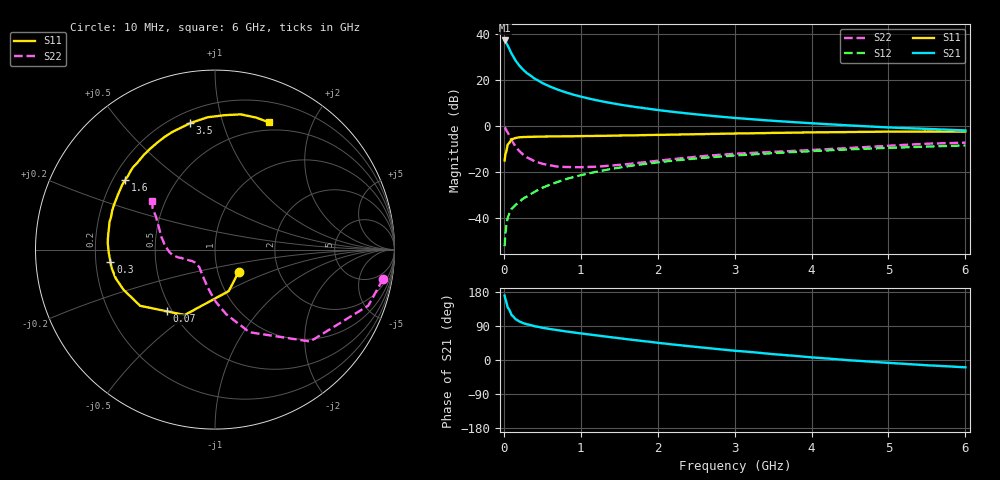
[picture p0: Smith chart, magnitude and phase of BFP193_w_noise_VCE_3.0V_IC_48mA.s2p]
! Infineon Technologies  Discrete & RF Semiconductors
! BFP193
! VCE =  3.0 V,  IC =  48 mA
! Common Emitter S-Parameters:  Jan 2017
# GHz  S  MA  R  50
!  f  S11  S21  S12  S22
! GHz  MAG  ANG  MAG  ANG  MAG  ANG  MAG  ANG
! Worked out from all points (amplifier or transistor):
!   77 points, 10 MHz to 6 GHz, reference 50 ohm
!   highest |S21| = 37.3 dB at 10 MHz (marker M1)
!   |S21| within 3 dB of that: start of sweep to 61.65 MHz
!   unconditionally stable (mu >= 1): 555.9 MHz to 2.392 GHz
!   at 130 MHz: K = 0.62, MSG = 32.4 dB, |S12| = -34.8 dB
!   at 2.2 GHz: K = 1.01, MAG = 10.0 dB, |S12| = -14.9 dB
!   at 6 GHz: K = 0.94, MSG = 3.3 dB, |S12| = -8.3 dB
!   lowest NFmin = 1.49 dB at 450 MHz
!   S11 on the Smith chart (normalised r, x): 10 MHz: 1.26, -0.32; 70 MHz: 0.47, -0.40; 300 MHz: 0.26, -0.06; 1.6 GHz: 0.25, +0.32; 3.5 GHz: 0.27, +0.79; 6 GHz: 0.41, +1.43
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0.01  0.1811 -43.3  72.9 170.1  0.0025 83.8  0.9508 -9.9
0.02  0.2441 -71.8  70.82 161.0  0.0047 81.0  0.9093 -20.1
0.05  0.4015 -114.9  56.45 138.7  0.0103 62.0  0.737 -44.0
0.07  0.4361 -128.0  48.28 132.5  0.0126 61.1  0.6306 -51.2
0.1  0.5217 -143.1  37.65 118.5  0.016 60.3  0.4992 -67.3
0.15  0.5568 -156.4  27.05 108.3  0.0195 58.5  0.3658 -80.1
0.2  0.5759 -163.9  20.91 102.0  0.0227 61.8  0.2911 -89.1
0.25  0.5842 -169.5  16.98 97.4  0.0269 62.5  0.2437 -95.5
0.3  0.5867 -173.2  14.25 94.3  0.0299 65.2  0.2115 -101.5
0.4  0.5933 -179.1  10.83 89.1  0.0377 67.2  0.1742 -110.6
0.5  0.5989 176.2  8.697 85.2  0.0461 68.3  0.1538 -118.0
0.6  0.601 172.2  7.286 81.7  0.0542 68.0  0.1419 -124.5
0.7  0.6027 168.8  6.255 78.8  0.0619 68.6  0.1333 -129.8
0.8  0.6074 165.5  5.489 75.6  0.0706 68.3  0.1307 -133.9
1.1  0.615 156.5  4.018 67.7  0.0948 66.0  0.131 -144.4
1.6  0.633 142.4  2.797 55.0  0.1346 60.3  0.1505 -155.8
2.1  0.6539 129.4  2.154 43.2  0.1718 53.8  0.186 -164.6
3.1  0.6999 108.2  1.475 22.9  0.2374 40.8  0.2579 -178.2
3.5  0.7181 101.1  1.315 15.4  0.2611 36.2  0.2786 175.8
4.1  0.74 91.7  1.137 5.5  0.2938 28.8  0.3119 164.9
5.1  0.7669 77.9  0.93 -8.8  0.3444 17.2  0.3862 149.7
6  0.7699 66.9  0.812 -19.3  0.3835 7.0  0.4406 142.4
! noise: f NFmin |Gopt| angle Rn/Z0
0.45  1.49  0.42  -171  0.08
0.9  1.54  0.44  -164  0.08
1.9  2.17  0.61  -132  0.22
2.4  2.5  0.64  -119  0.47
